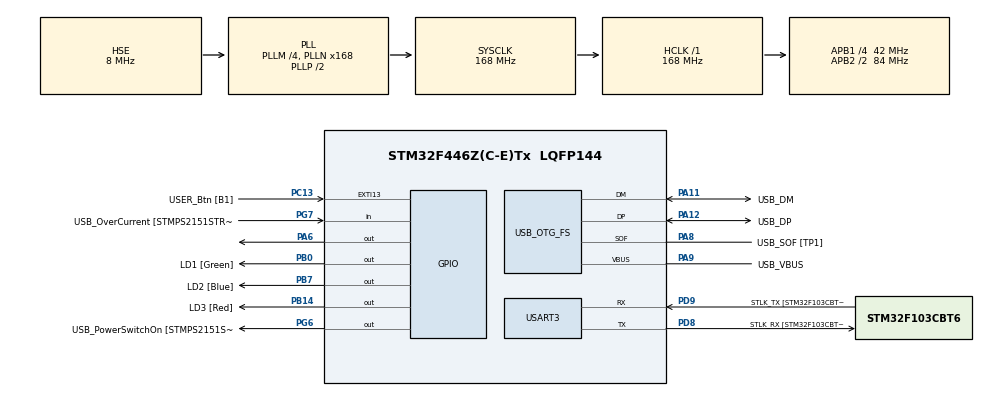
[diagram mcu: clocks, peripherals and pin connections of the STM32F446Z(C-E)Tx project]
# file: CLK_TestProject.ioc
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Mcu.Family=STM32F4
Mcu.Name=STM32F446Z(C-E)Tx
Mcu.Package=LQFP144
NVIC.PriorityGroup=NVIC_PRIORITYGROUP_4
PA10.GPIO_Label=USB_ID
PA10.Signal=USB_OTG_FS_ID
PA11.GPIO_Label=USB_DM
PA11.Mode=Device_Only
PA11.Signal=USB_OTG_FS_DM
PA12.GPIO_Label=USB_DP
PA12.Mode=Device_Only
PA12.Signal=USB_OTG_FS_DP
PA13.GPIO_Label=TMS
PA13.Mode=Serial_Wire
PA13.Signal=SYS_JTMS-SWDIO
PA14.GPIO_Label=TCK
PA14.Mode=Serial_Wire
PA14.Signal=SYS_JTCK-SWCLK
PA6.Signal=GPIO_Output
PA8.GPIO_Label=USB_SOF [TP1]
PA8.Mode=Activate_SOF_FS
PA8.Signal=USB_OTG_FS_SOF
PA9.GPIO_Label=USB_VBUS
PA9.Mode=Activate_VBUS
PA9.Signal=USB_OTG_FS_VBUS
PB0.GPIO_Label=LD1 [Green]
PB0.Signal=GPIO_Output
PB14.GPIO_Label=LD3 [Red]
PB14.Signal=GPIO_Output
PB7.GPIO_Label=LD2 [Blue]
PB7.Signal=GPIO_Output
PC13.GPIO_Label=USER_Btn [B1]
PC13.Signal=GPXTI13
PC14-OSC32_IN.Mode=LSE-External-Oscillator
PC14-OSC32_IN.Signal=RCC_OSC32_IN
PC15-OSC32_OUT.Mode=LSE-External-Oscillator
PC15-OSC32_OUT.Signal=RCC_OSC32_OUT
PD8.GPIO_Label=STLK_RX [STM32F103CBT6_PA3]
PD8.Mode=Asynchronous
PD8.Signal=USART3_TX
PD9.GPIO_Label=STLK_TX [STM32F103CBT6_PA2]
PD9.Mode=Asynchronous
PD9.Signal=USART3_RX
PG6.GPIO_Label=USB_PowerSwitchOn [STMPS2151STR_EN]
PG6.Signal=GPIO_Output
PG7.GPIO_Label=USB_OverCurrent [STMPS2151STR_FAULT]
PG7.Signal=GPIO_Input
PH0-OSC_IN.GPIO_Label=MCO [STM32F103CBT6_PA8]
PH0-OSC_IN.Mode=HSE-External-Oscillator
PH0-OSC_IN.Signal=RCC_OSC_IN
PH1-OSC_OUT.Mode=HSE-External-Oscillator
PH1-OSC_OUT.Signal=RCC_OSC_OUT
ProjectManager.HeapSize=0x200
ProjectManager.StackSize=0x400
ProjectManager.TargetToolchain=STM32CubeIDE
RCC.48MHZClocksFreq_Value=24000000
RCC.AHBFreq_Value=168000000
RCC.APB1CLKDivider=RCC_HCLK_DIV4
RCC.APB1Freq_Value=42000000
RCC.APB1TimFreq_Value=84000000
RCC.APB2CLKDivider=RCC_HCLK_DIV2
RCC.APB2Freq_Value=84000000
RCC.APB2TimFreq_Value=168000000
RCC.CortexFreq_Value=168000000
RCC.HCLKFreq_Value=168000000
RCC.HSE_VALUE=8000000
RCC.HSI_VALUE=16000000
RCC.PLLM=4
RCC.PLLMUL=RCC_PLL_MUL9
RCC.PLLN=168
RCC.PLLQ=7
RCC.PRESCALERUSB=RCC_USBCLKSOURCE_PLL_DIV1_5
RCC.SYSCLKFreq_VALUE=168000000
RCC.SYSCLKSource=RCC_SYSCLKSOURCE_PLLCLK
RCC.SYSCLKSourceVirtual=RCC_SYSCLKSOURCE_PLLCLK
RCC.USBFreq_Value=48000000
RCC.VCOOutputFreq_Value=336000000
USART3.VirtualMode=VM_ASYNC
USB_OTG_FS.VirtualMode=Device_Only
board=NUCLEO-F446ZE

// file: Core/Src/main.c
/* USER CODE BEGIN Header */
/**
  ******************************************************************************
  * @file           : main.c
  * @brief          : Main program body
  ******************************************************************************
  * @attention
  *
  * Copyright (c) 2025 STMicroelectronics.
  * All rights reserved.
  *
  * This software is licensed under terms that can be found in the LICENSE file
  * in the root directory of this software component.
  * If no LICENSE file comes with this software, it is provided AS-IS.
  *
  ******************************************************************************
  */
/* USER CODE END Header */
#include "main.h"

UART_HandleTypeDef huart3;

PCD_HandleTypeDef hpcd_USB_OTG_FS;

void SystemClock_Config(void);
static void MX_GPIO_Init(void);
static void MX_USART3_UART_Init(void);
static void MX_USB_OTG_FS_PCD_Init(void);

int main(void)
{

  /* MCU Configuration--------------------------------------------------------*/

  /* Reset of all peripherals, Initializes the Flash interface and the Systick. */
  HAL_Init();

  /* Configure the system clock */
  SystemClock_Config();

  /* Initialize all configured peripherals */
  MX_GPIO_Init();
  MX_USART3_UART_Init();
  MX_USB_OTG_FS_PCD_Init();
  /* USER CODE BEGIN 2 */
  printf("HCLK Frequency: %lu\n", HAL_RCC_GetHCLKFreq());
  printf("SysTick LOAD: %lu\n", SysTick->LOAD);
  printf("SysTick VAL: %lu\n", SysTick->VAL);
  /* USER CODE END 2 */

  /* Infinite loop */
  /* USER CODE BEGIN WHILE */
  while (1)
  {
	  HAL_GPIO_WritePin(GPIOA, GPIO_PIN_6, 1);
	  HAL_Delay(1);
	  HAL_GPIO_WritePin(GPIOA, GPIO_PIN_6, 0);
	  HAL_Delay(1);
    /* USER CODE END WHILE */

  }
}

void SystemClock_Config(void)
{
  RCC_OscInitTypeDef RCC_OscInitStruct = {0};
  RCC_ClkInitTypeDef RCC_ClkInitStruct = {0};

  /** Configure the main internal regulator output voltage
  */
  __HAL_RCC_PWR_CLK_ENABLE();
  __HAL_PWR_VOLTAGESCALING_CONFIG(PWR_REGULATOR_VOLTAGE_SCALE1);

  /** Initializes the RCC Oscillators according to the specified parameters
  * in the RCC_OscInitTypeDef structure.
  */
  RCC_OscInitStruct.OscillatorType = RCC_OSCILLATORTYPE_HSE;
  RCC_OscInitStruct.HSEState = RCC_HSE_ON;
  RCC_OscInitStruct.PLL.PLLState = RCC_PLL_ON;
  RCC_OscInitStruct.PLL.PLLSource = RCC_PLLSOURCE_HSE;
  RCC_OscInitStruct.PLL.PLLM = 4;
  RCC_OscInitStruct.PLL.PLLN = 168;
  RCC_OscInitStruct.PLL.PLLP = RCC_PLLP_DIV2;
  RCC_OscInitStruct.PLL.PLLQ = 7;
  RCC_OscInitStruct.PLL.PLLR = 2;
  if (HAL_RCC_OscConfig(&RCC_OscInitStruct) != HAL_OK)
  {
    Error_Handler();
  }

  /** Initializes the CPU, AHB and APB buses clocks
  */
  RCC_ClkInitStruct.ClockType = RCC_CLOCKTYPE_HCLK|RCC_CLOCKTYPE_SYSCLK
                              |RCC_CLOCKTYPE_PCLK1|RCC_CLOCKTYPE_PCLK2;
  RCC_ClkInitStruct.SYSCLKSource = RCC_SYSCLKSOURCE_PLLCLK;
  RCC_ClkInitStruct.AHBCLKDivider = RCC_SYSCLK_DIV1;
  RCC_ClkInitStruct.APB1CLKDivider = RCC_HCLK_DIV4;
  RCC_ClkInitStruct.APB2CLKDivider = RCC_HCLK_DIV2;

  if (HAL_RCC_ClockConfig(&RCC_ClkInitStruct, FLASH_LATENCY_5) != HAL_OK)
  {
    Error_Handler();
  }
}

static void MX_USART3_UART_Init(void)
{

  huart3.Instance = USART3;
  huart3.Init.BaudRate = 115200;
  huart3.Init.WordLength = UART_WORDLENGTH_8B;
  huart3.Init.StopBits = UART_STOPBITS_1;
  huart3.Init.Parity = UART_PARITY_NONE;
  huart3.Init.Mode = UART_MODE_TX_RX;
  huart3.Init.HwFlowCtl = UART_HWCONTROL_NONE;
  huart3.Init.OverSampling = UART_OVERSAMPLING_16;
  if (HAL_UART_Init(&huart3) != HAL_OK)
  {
    Error_Handler();
  }

}

static void MX_USB_OTG_FS_PCD_Init(void)
{

  hpcd_USB_OTG_FS.Instance = USB_OTG_FS;
  hpcd_USB_OTG_FS.Init.dev_endpoints = 6;
  hpcd_USB_OTG_FS.Init.speed = PCD_SPEED_FULL;
  hpcd_USB_OTG_FS.Init.dma_enable = DISABLE;
  hpcd_USB_OTG_FS.Init.phy_itface = PCD_PHY_EMBEDDED;
  hpcd_USB_OTG_FS.Init.Sof_enable = ENABLE;
  hpcd_USB_OTG_FS.Init.low_power_enable = DISABLE;
  hpcd_USB_OTG_FS.Init.lpm_enable = DISABLE;
  hpcd_USB_OTG_FS.Init.vbus_sensing_enable = ENABLE;
  hpcd_USB_OTG_FS.Init.use_dedicated_ep1 = DISABLE;
  if (HAL_PCD_Init(&hpcd_USB_OTG_FS) != HAL_OK)
  {
    Error_Handler();
  }

}

static void MX_GPIO_Init(void)
{
  GPIO_InitTypeDef GPIO_InitStruct = {0};

  /* GPIO Ports Clock Enable */
  __HAL_RCC_GPIOC_CLK_ENABLE();
  __HAL_RCC_GPIOH_CLK_ENABLE();
  __HAL_RCC_GPIOA_CLK_ENABLE();
  __HAL_RCC_GPIOB_CLK_ENABLE();
  __HAL_RCC_GPIOD_CLK_ENABLE();
  __HAL_RCC_GPIOG_CLK_ENABLE();

  /*Configure GPIO pin Output Level */
  HAL_GPIO_WritePin(GPIOA, GPIO_PIN_6, GPIO_PIN_RESET);

  /*Configure GPIO pin Output Level */
  HAL_GPIO_WritePin(GPIOB, LD1_Pin|LD3_Pin|LD2_Pin, GPIO_PIN_RESET);

  /*Configure GPIO pin Output Level */
  HAL_GPIO_WritePin(USB_PowerSwitchOn_GPIO_Port, USB_PowerSwitchOn_Pin, GPIO_PIN_RESET);

  /*Configure GPIO pin : USER_Btn_Pin */
  GPIO_InitStruct.Pin = USER_Btn_Pin;
  GPIO_InitStruct.Mode = GPIO_MODE_IT_RISING;
  GPIO_InitStruct.Pull = GPIO_NOPULL;
  HAL_GPIO_Init(USER_Btn_GPIO_Port, &GPIO_InitStruct);

  /*Configure GPIO pin : PA6 */
  GPIO_InitStruct.Pin = GPIO_PIN_6;
  GPIO_InitStruct.Mode = GPIO_MODE_OUTPUT_PP;
  GPIO_InitStruct.Pull = GPIO_NOPULL;
  GPIO_InitStruct.Speed = GPIO_SPEED_FREQ_LOW;
  HAL_GPIO_Init(GPIOA, &GPIO_InitStruct);

  /*Configure GPIO pins : LD1_Pin LD3_Pin LD2_Pin */
  GPIO_InitStruct.Pin = LD1_Pin|LD3_Pin|LD2_Pin;
  GPIO_InitStruct.Mode = GPIO_MODE_OUTPUT_PP;
  GPIO_InitStruct.Pull = GPIO_NOPULL;
  GPIO_InitStruct.Speed = GPIO_SPEED_FREQ_LOW;
  HAL_GPIO_Init(GPIOB, &GPIO_InitStruct);

  /*Configure GPIO pin : USB_PowerSwitchOn_Pin */
  GPIO_InitStruct.Pin = USB_PowerSwitchOn_Pin;
  GPIO_InitStruct.Mode = GPIO_MODE_OUTPUT_PP;
  GPIO_InitStruct.Pull = GPIO_NOPULL;
  GPIO_InitStruct.Speed = GPIO_SPEED_FREQ_LOW;
  HAL_GPIO_Init(USB_PowerSwitchOn_GPIO_Port, &GPIO_InitStruct);

  /*Configure GPIO pin : USB_OverCurrent_Pin */
  GPIO_InitStruct.Pin = USB_OverCurrent_Pin;
  GPIO_InitStruct.Mode = GPIO_MODE_INPUT;
  GPIO_InitStruct.Pull = GPIO_NOPULL;
  HAL_GPIO_Init(USB_OverCurrent_GPIO_Port, &GPIO_InitStruct);

}

/* USER CODE BEGIN 4 */
int _write(int file, char *ptr, int len)
{
  (void)file;
  int DataIdx;

  for (DataIdx = 0; DataIdx < len; DataIdx++)
  {
    ITM_SendChar(*ptr++);
  }

  return len;
}

void HAL_Delay(uint32_t Delay)
{
  uint32_t tickstart = HAL_GetTick();
  uint32_t wait = Delay;

  /* Add a freq to guarantee minimum wait
  if (wait < HAL_MAX_DELAY)
  {
    wait += (uint32_t)(uwTickFreq);
  }
*/
  while((HAL_GetTick() - tickstart) < wait)
  {
  }
}
/* USER CODE END 4 */

void Error_Handler(void)
{
  __disable_irq();
  while (1)
  {
  }
}
